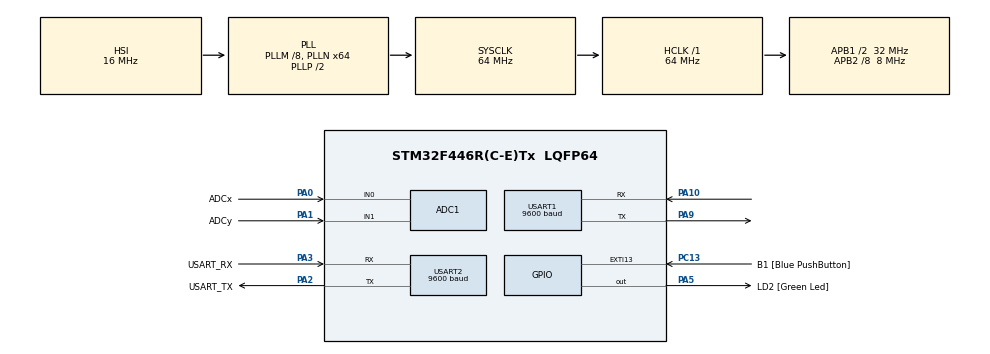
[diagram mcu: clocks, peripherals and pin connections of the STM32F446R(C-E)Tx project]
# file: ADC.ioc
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ADC1.Channel-0\#ChannelRegularConversion=ADC_CHANNEL_0
ADC1.Channel-2\#ChannelRegularConversion=ADC_CHANNEL_1
ADC1.ClockPrescaler=ADC_CLOCK_SYNC_PCLK_DIV8
ADC1.ContinuousConvMode=ENABLE
ADC1.DMAContinuousRequests=ENABLE
ADC1.EOCSelection=ADC_EOC_SEQ_CONV
ADC1.NbrOfConversion=2
ADC1.NbrOfConversionFlag=1
ADC1.Rank-0\#ChannelRegularConversion=1
ADC1.Rank-2\#ChannelRegularConversion=2
ADC1.SamplingTime-0\#ChannelRegularConversion=ADC_SAMPLETIME_480CYCLES
ADC1.SamplingTime-2\#ChannelRegularConversion=ADC_SAMPLETIME_480CYCLES
ADC1.ScanConvMode=ENABLE
ADC1.master=1
Dma.ADC1.0.Direction=DMA_PERIPH_TO_MEMORY
Dma.ADC1.0.FIFOMode=DMA_FIFOMODE_ENABLE
Dma.ADC1.0.FIFOThreshold=DMA_FIFO_THRESHOLD_FULL
Dma.ADC1.0.Instance=DMA2_Stream0
Dma.ADC1.0.MemBurst=DMA_MBURST_SINGLE
Dma.ADC1.0.MemDataAlignment=DMA_MDATAALIGN_HALFWORD
Dma.ADC1.0.MemInc=DMA_MINC_ENABLE
Dma.ADC1.0.Mode=DMA_CIRCULAR
Dma.ADC1.0.PeriphBurst=DMA_PBURST_SINGLE
Dma.ADC1.0.PeriphDataAlignment=DMA_PDATAALIGN_HALFWORD
Dma.ADC1.0.PeriphInc=DMA_PINC_DISABLE
Dma.ADC1.0.Priority=DMA_PRIORITY_LOW
Dma.Request0=ADC1
Dma.Request1=USART1_RX
Dma.USART1_RX.1.Direction=DMA_PERIPH_TO_MEMORY
Dma.USART1_RX.1.FIFOMode=DMA_FIFOMODE_DISABLE
Dma.USART1_RX.1.Instance=DMA2_Stream2
Dma.USART1_RX.1.MemDataAlignment=DMA_MDATAALIGN_BYTE
Dma.USART1_RX.1.MemInc=DMA_MINC_ENABLE
Dma.USART1_RX.1.Mode=DMA_NORMAL
Dma.USART1_RX.1.PeriphDataAlignment=DMA_PDATAALIGN_BYTE
Dma.USART1_RX.1.PeriphInc=DMA_PINC_DISABLE
Dma.USART1_RX.1.Priority=DMA_PRIORITY_LOW
Mcu.Family=STM32F4
Mcu.Name=STM32F446R(C-E)Tx
Mcu.Package=LQFP64
NVIC.ADC_IRQn=true\:0\:0\:false\:false\:true\:true\:true\:true
NVIC.DMA2_Stream0_IRQn=true\:0\:0\:false\:false\:true\:false\:true\:true
NVIC.DMA2_Stream2_IRQn=true\:0\:0\:false\:false\:true\:false\:true\:true
NVIC.PriorityGroup=NVIC_PRIORITYGROUP_0
NVIC.USART1_IRQn=true\:0\:0\:false\:false\:true\:true\:true\:true
NVIC.USART2_IRQn=true\:0\:0\:false\:false\:true\:true\:true\:true
PA0-WKUP.GPIO_Label=ADCx
PA0-WKUP.Signal=ADCx_IN0
PA1.GPIO_Label=ADCy
PA1.Signal=ADCx_IN1
PA10.Mode=Asynchronous
PA10.Signal=USART1_RX
PA13.GPIO_Label=TMS
PA13.Mode=Serial_Wire
PA13.Signal=SYS_JTMS-SWDIO
PA14.GPIO_Label=TCK
PA14.Mode=Serial_Wire
PA14.Signal=SYS_JTCK-SWCLK
PA2.GPIO_Label=USART_TX
PA2.Mode=Asynchronous
PA2.Signal=USART2_TX
PA3.GPIO_Label=USART_RX
PA3.Mode=Asynchronous
PA3.Signal=USART2_RX
PA5.GPIO_Label=LD2 [Green Led]
PA5.Signal=GPIO_Output
PA9.Mode=Asynchronous
PA9.Signal=USART1_TX
PB3.GPIO_Label=SWO
PB3.Signal=SYS_JTDO-SWO
PC13.GPIO_Label=B1 [Blue PushButton]
PC13.GPIO_ModeDefaultEXTI=GPIO_MODE_IT_FALLING
PC13.Signal=GPXTI13
PC14-OSC32_IN.Mode=LSE-External-Oscillator
PC14-OSC32_IN.Signal=RCC_OSC32_IN
PC15-OSC32_OUT.Mode=LSE-External-Oscillator
PC15-OSC32_OUT.Signal=RCC_OSC32_OUT
PH0-OSC_IN.Mode=HSE-External-Oscillator
PH0-OSC_IN.Signal=RCC_OSC_IN
PH1-OSC_OUT.Mode=HSE-External-Oscillator
PH1-OSC_OUT.Signal=RCC_OSC_OUT
ProjectManager.HeapSize=0x200
ProjectManager.StackSize=0x400
ProjectManager.TargetToolchain=STM32CubeIDE
RCC.48MHZClocksFreq_Value=84000000
RCC.AHBFreq_Value=64000000
RCC.APB1CLKDivider=RCC_HCLK_DIV2
RCC.APB1Freq_Value=32000000
RCC.APB1TimFreq_Value=64000000
RCC.APB2CLKDivider=RCC_HCLK_DIV8
RCC.APB2Freq_Value=8000000
RCC.APB2TimFreq_Value=16000000
RCC.CortexFreq_Value=64000000
RCC.FLatency-AdvancedSettings=FLASH_LATENCY_2
RCC.HCLKFreq_Value=64000000
RCC.HSE_VALUE=8000000
RCC.HSI_VALUE=16000000
RCC.PLLM=8
RCC.PLLN=64
RCC.SYSCLKFreq_VALUE=64000000
RCC.SYSCLKSource=RCC_SYSCLKSOURCE_PLLCLK
RCC.USBFreq_Value=64000000
RCC.VCOOutputFreq_Value=128000000
SH.ADCx_IN0.0=ADC1_IN0,IN0
SH.ADCx_IN1.0=ADC1_IN1,IN1
USART1.BaudRate=9600
USART1.OverSampling=UART_OVERSAMPLING_8
USART1.VirtualMode=VM_ASYNC
USART2.BaudRate=9600
USART2.Mode=MODE_TX
USART2.OverSampling=UART_OVERSAMPLING_8
USART2.VirtualMode=VM_ASYNC
board=NUCLEO-F446RE

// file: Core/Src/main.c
/* USER CODE BEGIN Header */
/**
  ******************************************************************************
  * @file           : main.c
  * @brief          : Main program body
  ******************************************************************************
  * @attention
  *
  * Copyright (c) 2026 STMicroelectronics.
  * All rights reserved.
  *
  * This software is licensed under terms that can be found in the LICENSE file
  * in the root directory of this software component.
  * If no LICENSE file comes with this software, it is provided AS-IS.
  *
  ******************************************************************************
  */
/* USER CODE END Header */
#include "main.h"

/* USER CODE BEGIN Includes */
#include <string.h>
/* USER CODE END Includes */

ADC_HandleTypeDef hadc1;
DMA_HandleTypeDef hdma_adc1;

UART_HandleTypeDef huart1;
UART_HandleTypeDef huart2;
DMA_HandleTypeDef hdma_usart1_rx;

/* USER CODE BEGIN PV */
uint8_t rxbuffer[2];
uint16_t ADCvalor[2];

//uint8_t estadox;
//uint8_t estadoy;

char estadox[10];
char estadoy[10];

char estado_control[10];

char dummy[20];

uint8_t estadoADC = 0;
uint8_t contador = 0;

/* USER CODE END PV */

void SystemClock_Config(void);
static void MX_GPIO_Init(void);
static void MX_DMA_Init(void);
static void MX_ADC1_Init(void);
static void MX_USART2_UART_Init(void);
static void MX_USART1_UART_Init(void);

int main(void)
{

  /* MCU Configuration--------------------------------------------------------*/

  /* Reset of all peripherals, Initializes the Flash interface and the Systick. */
  HAL_Init();

  /* Configure the system clock */
  SystemClock_Config();

  /* Initialize all configured peripherals */
  MX_GPIO_Init();
  MX_DMA_Init();
  MX_ADC1_Init();
  MX_USART2_UART_Init();
  MX_USART1_UART_Init();
  /* USER CODE BEGIN 2 */

  HAL_ADC_Start_DMA(&hadc1, (uint32_t *)ADCvalor, 2);
  HAL_UART_Receive_DMA(&huart1, rxbuffer, sizeof(rxbuffer));

  /* USER CODE END 2 */

  /* Infinite loop */
  /* USER CODE BEGIN WHILE */
  while (1)
  {
	  if (ADCvalor[0] > 2047){
		  //estadox = 1;
		  strcpy(estadox, "Derecha");
	  }else{
		  //estadox = 0;

		  strcpy(estadox, "Izquierda");
	  }

	  if (ADCvalor[1] < 2047){
		  strcpy(estadoy, "Arriba");
	  }else{
		  strcpy(estadoy, "Abajo");
	  }

	  switch(rxbuffer[0]){
	  case 'U':
		  strcpy(estado_control, "Arriba");
		  break;

	  case 'D':
		  strcpy(estado_control, "Abajo");
		  break;

	  case 'R':
	  		  strcpy(estado_control, "Derecha");
	  		  break;

	  case 'L':
	  		  strcpy(estado_control, "Izquierda");
	  		  break;

	  case 'A':
	  		  strcpy(estado_control, "Accion A");
	  		  break;

	  case 'B':
	  		  strcpy(estado_control, "Accion B");
	  		  break;
	  default:
		  break;

	  }

	  // Enviar comandos de control 1

	  strcpy(dummy, "Control 1: ");
	  HAL_UART_Transmit(&huart2, dummy, strlen(dummy), 100);

	  strcpy(dummy, "x: ");
	  HAL_UART_Transmit(&huart2, dummy, strlen(dummy), 100);

	  HAL_UART_Transmit(&huart2, estadox, strlen(estadox), 100);

	  strcpy(dummy, "  y: ");
	  HAL_UART_Transmit(&huart2, dummy, strlen(dummy), 100);

	  HAL_UART_Transmit(&huart2, estadoy, strlen(estadoy), 100);

	  strcpy(dummy, "\n");;
	  HAL_UART_Transmit(&huart2, dummy, strlen(dummy), 100);

	  // Enviar comandos de jugador 2
	  strcpy(dummy, "Control 2: ");
	  HAL_UART_Transmit(&huart2, dummy, strlen(dummy), 100);

	  HAL_UART_Transmit(&huart2, estado_control, strlen(estado_control), 100);

	  strcpy(dummy, "\n\n");;
	  HAL_UART_Transmit(&huart2, dummy, strlen(dummy), 100);

	  HAL_Delay(500);

    /* USER CODE END WHILE */

  }
}

void SystemClock_Config(void)
{
  RCC_OscInitTypeDef RCC_OscInitStruct = {0};
  RCC_ClkInitTypeDef RCC_ClkInitStruct = {0};

  /** Configure the main internal regulator output voltage
  */
  __HAL_RCC_PWR_CLK_ENABLE();
  __HAL_PWR_VOLTAGESCALING_CONFIG(PWR_REGULATOR_VOLTAGE_SCALE3);

  /** Initializes the RCC Oscillators according to the specified parameters
  * in the RCC_OscInitTypeDef structure.
  */
  RCC_OscInitStruct.OscillatorType = RCC_OSCILLATORTYPE_HSI;
  RCC_OscInitStruct.HSIState = RCC_HSI_ON;
  RCC_OscInitStruct.HSICalibrationValue = RCC_HSICALIBRATION_DEFAULT;
  RCC_OscInitStruct.PLL.PLLState = RCC_PLL_ON;
  RCC_OscInitStruct.PLL.PLLSource = RCC_PLLSOURCE_HSI;
  RCC_OscInitStruct.PLL.PLLM = 8;
  RCC_OscInitStruct.PLL.PLLN = 64;
  RCC_OscInitStruct.PLL.PLLP = RCC_PLLP_DIV2;
  RCC_OscInitStruct.PLL.PLLQ = 2;
  RCC_OscInitStruct.PLL.PLLR = 2;
  if (HAL_RCC_OscConfig(&RCC_OscInitStruct) != HAL_OK)
  {
    Error_Handler();
  }

  /** Initializes the CPU, AHB and APB buses clocks
  */
  RCC_ClkInitStruct.ClockType = RCC_CLOCKTYPE_HCLK|RCC_CLOCKTYPE_SYSCLK
                              |RCC_CLOCKTYPE_PCLK1|RCC_CLOCKTYPE_PCLK2;
  RCC_ClkInitStruct.SYSCLKSource = RCC_SYSCLKSOURCE_PLLCLK;
  RCC_ClkInitStruct.AHBCLKDivider = RCC_SYSCLK_DIV1;
  RCC_ClkInitStruct.APB1CLKDivider = RCC_HCLK_DIV2;
  RCC_ClkInitStruct.APB2CLKDivider = RCC_HCLK_DIV8;

  if (HAL_RCC_ClockConfig(&RCC_ClkInitStruct, FLASH_LATENCY_2) != HAL_OK)
  {
    Error_Handler();
  }
}

static void MX_ADC1_Init(void)
{

  ADC_ChannelConfTypeDef sConfig = {0};

  /** Configure the global features of the ADC (Clock, Resolution, Data Alignment and number of conversion)
  */
  hadc1.Instance = ADC1;
  hadc1.Init.ClockPrescaler = ADC_CLOCK_SYNC_PCLK_DIV8;
  hadc1.Init.Resolution = ADC_RESOLUTION_12B;
  hadc1.Init.ScanConvMode = ENABLE;
  hadc1.Init.ContinuousConvMode = ENABLE;
  hadc1.Init.DiscontinuousConvMode = DISABLE;
  hadc1.Init.ExternalTrigConvEdge = ADC_EXTERNALTRIGCONVEDGE_NONE;
  hadc1.Init.ExternalTrigConv = ADC_SOFTWARE_START;
  hadc1.Init.DataAlign = ADC_DATAALIGN_RIGHT;
  hadc1.Init.NbrOfConversion = 2;
  hadc1.Init.DMAContinuousRequests = ENABLE;
  hadc1.Init.EOCSelection = ADC_EOC_SEQ_CONV;
  if (HAL_ADC_Init(&hadc1) != HAL_OK)
  {
    Error_Handler();
  }

  /** Configure for the selected ADC regular channel its corresponding rank in the sequencer and its sample time.
  */
  sConfig.Channel = ADC_CHANNEL_0;
  sConfig.Rank = 1;
  sConfig.SamplingTime = ADC_SAMPLETIME_480CYCLES;
  if (HAL_ADC_ConfigChannel(&hadc1, &sConfig) != HAL_OK)
  {
    Error_Handler();
  }

  /** Configure for the selected ADC regular channel its corresponding rank in the sequencer and its sample time.
  */
  sConfig.Channel = ADC_CHANNEL_1;
  sConfig.Rank = 2;
  if (HAL_ADC_ConfigChannel(&hadc1, &sConfig) != HAL_OK)
  {
    Error_Handler();
  }

}

static void MX_USART1_UART_Init(void)
{

  huart1.Instance = USART1;
  huart1.Init.BaudRate = 9600;
  huart1.Init.WordLength = UART_WORDLENGTH_8B;
  huart1.Init.StopBits = UART_STOPBITS_1;
  huart1.Init.Parity = UART_PARITY_NONE;
  huart1.Init.Mode = UART_MODE_TX_RX;
  huart1.Init.HwFlowCtl = UART_HWCONTROL_NONE;
  huart1.Init.OverSampling = UART_OVERSAMPLING_8;
  if (HAL_UART_Init(&huart1) != HAL_OK)
  {
    Error_Handler();
  }

}

static void MX_USART2_UART_Init(void)
{

  huart2.Instance = USART2;
  huart2.Init.BaudRate = 9600;
  huart2.Init.WordLength = UART_WORDLENGTH_8B;
  huart2.Init.StopBits = UART_STOPBITS_1;
  huart2.Init.Parity = UART_PARITY_NONE;
  huart2.Init.Mode = UART_MODE_TX;
  huart2.Init.HwFlowCtl = UART_HWCONTROL_NONE;
  huart2.Init.OverSampling = UART_OVERSAMPLING_8;
  if (HAL_UART_Init(&huart2) != HAL_OK)
  {
    Error_Handler();
  }

}

static void MX_DMA_Init(void)
{

  /* DMA controller clock enable */
  __HAL_RCC_DMA2_CLK_ENABLE();

  /* DMA interrupt init */
  /* DMA2_Stream0_IRQn interrupt configuration */
  HAL_NVIC_SetPriority(DMA2_Stream0_IRQn, 0, 0);
  HAL_NVIC_EnableIRQ(DMA2_Stream0_IRQn);
  /* DMA2_Stream2_IRQn interrupt configuration */
  HAL_NVIC_SetPriority(DMA2_Stream2_IRQn, 0, 0);
  HAL_NVIC_EnableIRQ(DMA2_Stream2_IRQn);

}

static void MX_GPIO_Init(void)
{
  GPIO_InitTypeDef GPIO_InitStruct = {0};

  /* GPIO Ports Clock Enable */
  __HAL_RCC_GPIOC_CLK_ENABLE();
  __HAL_RCC_GPIOH_CLK_ENABLE();
  __HAL_RCC_GPIOA_CLK_ENABLE();
  __HAL_RCC_GPIOB_CLK_ENABLE();

  /*Configure GPIO pin Output Level */
  HAL_GPIO_WritePin(LD2_GPIO_Port, LD2_Pin, GPIO_PIN_RESET);

  /*Configure GPIO pin : B1_Pin */
  GPIO_InitStruct.Pin = B1_Pin;
  GPIO_InitStruct.Mode = GPIO_MODE_IT_FALLING;
  GPIO_InitStruct.Pull = GPIO_NOPULL;
  HAL_GPIO_Init(B1_GPIO_Port, &GPIO_InitStruct);

  /*Configure GPIO pin : LD2_Pin */
  GPIO_InitStruct.Pin = LD2_Pin;
  GPIO_InitStruct.Mode = GPIO_MODE_OUTPUT_PP;
  GPIO_InitStruct.Pull = GPIO_NOPULL;
  GPIO_InitStruct.Speed = GPIO_SPEED_FREQ_LOW;
  HAL_GPIO_Init(LD2_GPIO_Port, &GPIO_InitStruct);

}

/* USER CODE BEGIN 4 */

// Interrupcion de RX con DMA
void HAL_UART_RxCpltCallback(UART_HandleTypeDef *huart)
{
    if (huart == &huart1)
    {
        HAL_UART_Receive_DMA(&huart1, rxbuffer, 2);
    }
}

/* USER CODE END 4 */

void Error_Handler(void)
{
  __disable_irq();
  while (1)
  {
  }
}
